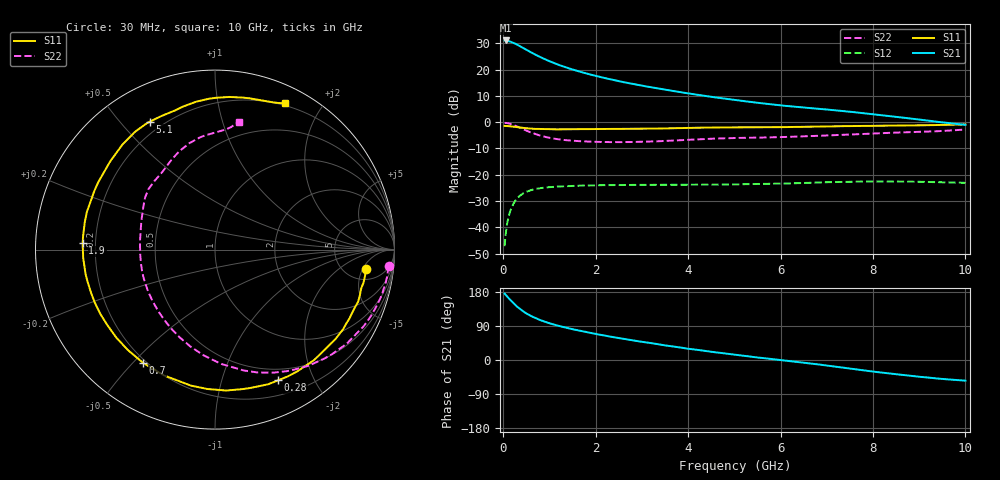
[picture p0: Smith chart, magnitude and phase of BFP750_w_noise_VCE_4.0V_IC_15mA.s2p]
! Infineon Technologies  Discrete & RF Semiconductors
! BFP750
! VCE =  4.0 V,  IC =  15 mA
! Common Emitter S-Parameters:  Jan 2016
# GHz  S  MA  R  50
!  f  S11  S21  S12  S22
! GHz  MAG  ANG  MAG  ANG  MAG  ANG  MAG  ANG
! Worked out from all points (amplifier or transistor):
!   229 points, 30 MHz to 10 GHz, reference 50 ohm
!   highest |S21| = 31.1 dB at 50 MHz (marker M1)
!   |S21| within 3 dB of that: start of sweep to 447.9 MHz
!   unconditionally stable (mu >= 1): 5.03 GHz to end of sweep
!   at 280 MHz: K = 0.11, MSG = 29.5 dB, |S12| = -29.4 dB
!   at 1.78 GHz: K = 0.45, MSG = 21.3 dB, |S12| = -24.1 dB
!   at 10 GHz: K = 1.10, MAG = 9.1 dB, |S12| = -23.0 dB
!   lowest NFmin = 0.69 dB at 450 MHz
!   S11 on the Smith chart (normalised r, x): 30 MHz: 7.58, -6.02; 280 MHz: 0.36, -1.53; 700 MHz: 0.19, -0.54; 1.9 GHz: 0.15, +0.02; 5.1 GHz: 0.15, +0.60; 10 GHz: 0.17, +1.58
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0.03  0.8508 -7.4  35.63 175.4  0.0044 71.9  0.9721 -5.5
0.05  0.8478 -12.5  35.76 172.1  0.007 75.6  0.9704 -9.1
0.1  0.8412 -24.8  35.07 165.5  0.014 73.2  0.9558 -18.3
0.15  0.8357 -36.7  34.11 158.8  0.0203 68.3  0.9322 -27.2
0.19  0.826 -45.8  33.03 153.6  0.0248 64.1  0.9064 -33.9
0.28  0.8086 -64.3  30.43 143.1  0.0338 55.7  0.8442 -48.0
0.34  0.7958 -75.5  28.55 136.8  0.0386 50.6  0.8007 -56.7
0.4  0.7876 -85.5  26.73 131.0  0.0426 46.1  0.7584 -64.7
0.5  0.7697 -100.0  23.85 122.9  0.0476 39.6  0.6931 -76.5
0.6  0.7563 -112.1  21.29 116.1  0.0512 34.4  0.6379 -86.9
0.7  0.7477 -122.3  19.14 110.3  0.0538 30.1  0.5927 -96.1
0.9  0.7366 -138.3  15.75 101.0  0.0572 23.6  0.5278 -111.7
1.1  0.7326 -150.6  13.3 93.4  0.0593 18.9  0.4866 -124.5
1.38  0.7315 -164.1  10.84 84.6  0.061 14.1  0.4531 -139.1
1.7  0.7358 -176.3  8.911 76.1  0.0624 9.9  0.4337 -152.5
1.9  0.7383 177.2  7.983 71.1  0.063 7.8  0.4268 -159.7
2.6  0.7438 158.8  5.768 55.8  0.0639 2.0  0.4177 178.9
3.4  0.759 141.9  4.296 40.7  0.0646 -2.8  0.4358 160.8
5.1  0.7999 116.9  2.586 12.7  0.0657 -9.3  0.5023 136.5
6.8  0.8244 99.3  1.801 -11.4  0.0713 -15.5  0.5504 117.0
8.4  0.8609 79.6  1.293 -36.1  0.0746 -26.5  0.6294 98.0
10  0.9056 64.3  0.89 -54.5  0.0704 -35.4  0.7253 79.5
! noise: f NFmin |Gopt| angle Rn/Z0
0.45  0.69  0.06  7  1.18
0.9  0.7  0.06  10  0.61
1.5  0.71  0.07  107  0.34
1.9  0.73  0.11  148  0.12
2.4  0.79  0.15  -179  0.07
3.5  1.05  0.24  -154  0.05
